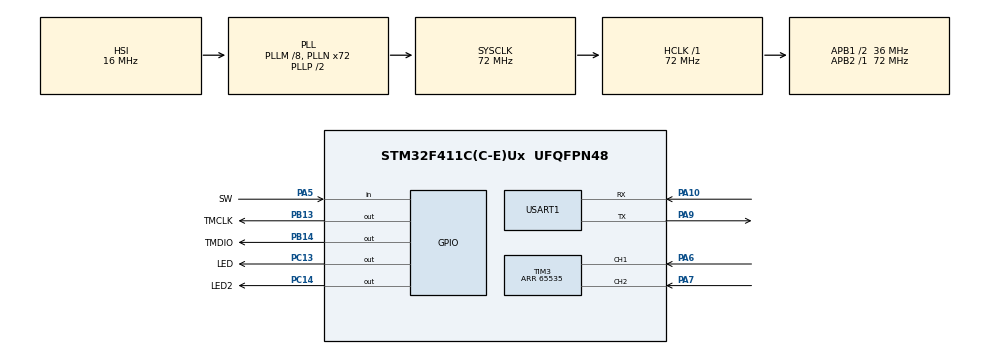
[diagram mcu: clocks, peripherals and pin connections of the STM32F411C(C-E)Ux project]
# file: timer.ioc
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Mcu.Family=STM32F4
Mcu.Name=STM32F411C(C-E)Ux
Mcu.Package=UFQFPN48
NVIC.PriorityGroup=NVIC_PRIORITYGROUP_4
NVIC.TIM2_IRQn=true\:0\:0\:false\:false\:true\:true\:true\:true
PA10.Mode=Asynchronous
PA10.Signal=USART1_RX
PA5.GPIO_Label=SW
PA5.Signal=GPIO_Input
PA6.Signal=S_TIM3_CH1
PA7.Signal=S_TIM3_CH2
PA9.Mode=Asynchronous
PA9.Signal=USART1_TX
PB13.GPIO_Label=TMCLK
PB13.Signal=GPIO_Output
PB14.GPIO_Label=TMDIO
PB14.Signal=GPIO_Output
PC13-ANTI_TAMP.GPIO_Label=LED
PC13-ANTI_TAMP.Signal=GPIO_Output
PC14-OSC32_IN.GPIO_Label=LED2
PC14-OSC32_IN.Signal=GPIO_Output
ProjectManager.HeapSize=0x200
ProjectManager.StackSize=0x400
ProjectManager.TargetToolchain=Makefile
RCC.48MHZClocksFreq_Value=36000000
RCC.AHBFreq_Value=72000000
RCC.APB1CLKDivider=RCC_HCLK_DIV2
RCC.APB1Freq_Value=36000000
RCC.APB1TimFreq_Value=72000000
RCC.APB2Freq_Value=72000000
RCC.APB2TimFreq_Value=72000000
RCC.CortexFreq_Value=72000000
RCC.HCLKFreq_Value=72000000
RCC.HSE_VALUE=25000000
RCC.HSI_VALUE=16000000
RCC.LSE_VALUE=32768
RCC.PLLM=8
RCC.PLLN=72
RCC.SYSCLKFreq_VALUE=72000000
RCC.SYSCLKSource=RCC_SYSCLKSOURCE_PLLCLK
RCC.VCOOutputFreq_Value=144000000
SH.S_TIM3_CH1.0=TIM3_CH1,Encoder_Interface
SH.S_TIM3_CH2.0=TIM3_CH2,Encoder_Interface
TIM2.Period=7200
TIM2.Prescaler=10000
TIM2.TIM_MasterOutputTrigger=TIM_TRGO_RESET
TIM3.EncoderMode=TIM_ENCODERMODE_TI1
TIM3.IC1Filter=10
TIM3.IC2Filter=10
TIM3.Period=65535
TIM3.TIM_MasterOutputTrigger=TIM_TRGO_RESET
TIM3.TIM_MasterSlaveMode=TIM_MASTERSLAVEMODE_DISABLE
USART1.VirtualMode=VM_ASYNC
VP_TIM2_VS_ClockSourceINT.Mode=Internal
board=custom

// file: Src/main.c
/* USER CODE BEGIN Header */
/**
  ******************************************************************************
  * @file           : main.c
  * @brief          : Main program body
  ******************************************************************************
  * @attention
  *
  * Copyright (c) 2025 STMicroelectronics.
  * All rights reserved.
  *
  * This software is licensed under terms that can be found in the LICENSE file
  * in the root directory of this software component.
  * If no LICENSE file comes with this software, it is provided AS-IS.
  *
  ******************************************************************************
  */
/* USER CODE END Header */
#include "main.h"
#include "tim.h"
#include "usart.h"
#include "gpio.h"

/* USER CODE BEGIN Includes */
#include "tm1637.h"
#include "stdio.h"
/* USER CODE END Includes */

/* USER CODE BEGIN PV */
uint8_t uCurrentDisplay[4] = {0};
uint8_t utm1637_Segments[8] = {0};
countDown_t cdCountDown;
uint8_t uTxBuffer[TX_BUFFER];
/* USER CODE END PV */

void SystemClock_Config(void);

int main(void)
{

  /* USER CODE BEGIN 1 */
  utm1637_Segments[0] = A_SEG;
  utm1637_Segments[1] = B_SEG;
  utm1637_Segments[2] = C_SEG;
  utm1637_Segments[3] = D_SEG;
  utm1637_Segments[4] = E_SEG;
  utm1637_Segments[5] = F_SEG;
  utm1637_Segments[6] = G_SEG;
  utm1637_Segments[7] = DP_SEG;
  /* USER CODE END 1 */

  /* MCU Configuration--------------------------------------------------------*/

  /* Reset of all peripherals, Initializes the Flash interface and the Systick. */
  HAL_Init();

  /* Configure the system clock */
  SystemClock_Config();

  /* Initialize all configured peripherals */
  MX_GPIO_Init();
  MX_TIM2_Init();
  MX_TIM3_Init();
  MX_USART1_UART_Init();
  /* USER CODE BEGIN 2 */
  HAL_TIM_Base_Start_IT(&htim2);
  HAL_TIM_Encoder_Start(&htim3,TIM_CHANNEL_ALL);
  //countDown_Set(10);
  //tm1637_Display_Handle(3,uCurrentDisplay);
  /* USER CODE END 2 */

  /* Infinite loop */
  /* USER CODE BEGIN WHILE */
  while (1)
  {
    if(TIM3->CNT > 0 && TIM3->CNT < 3600){
    if(TIM3->CNT != cdCountDown.secLeftTotal && !cdCountDown.isOn){
        countDown_Set(TIM3->CNT);
        sprintf(uTxBuffer, "Encoder Ticks = %u\n\r", ((TIM3->CNT)));
        HAL_UART_Transmit(&huart1, uTxBuffer, sizeof(uTxBuffer), 100);
      }
    }
    if(!HAL_GPIO_ReadPin(SW_GPIO_Port,SW_Pin)){
      if(!cdCountDown.isOn){
        countDown_Start();
      } else {
        countDown_Pause();
      }
    }
    if(cdCountDown.isDone){
      cdCountDown.isDone = cdCountDown.isDone <50?cdCountDown.isDone+1:0;
      HAL_GPIO_TogglePin(LED2_GPIO_Port,LED2_Pin);
      HAL_Delay(100);
    }
   tm1637_Display_Handle(3,uCurrentDisplay);
    /* USER CODE END WHILE */

  }
}

void SystemClock_Config(void)
{
  RCC_OscInitTypeDef RCC_OscInitStruct = {0};
  RCC_ClkInitTypeDef RCC_ClkInitStruct = {0};

  /** Configure the main internal regulator output voltage
  */
  __HAL_RCC_PWR_CLK_ENABLE();
  __HAL_PWR_VOLTAGESCALING_CONFIG(PWR_REGULATOR_VOLTAGE_SCALE1);

  /** Initializes the RCC Oscillators according to the specified parameters
  * in the RCC_OscInitTypeDef structure.
  */
  RCC_OscInitStruct.OscillatorType = RCC_OSCILLATORTYPE_HSI;
  RCC_OscInitStruct.HSIState = RCC_HSI_ON;
  RCC_OscInitStruct.HSICalibrationValue = RCC_HSICALIBRATION_DEFAULT;
  RCC_OscInitStruct.PLL.PLLState = RCC_PLL_ON;
  RCC_OscInitStruct.PLL.PLLSource = RCC_PLLSOURCE_HSI;
  RCC_OscInitStruct.PLL.PLLM = 8;
  RCC_OscInitStruct.PLL.PLLN = 72;
  RCC_OscInitStruct.PLL.PLLP = RCC_PLLP_DIV2;
  RCC_OscInitStruct.PLL.PLLQ = 4;
  if (HAL_RCC_OscConfig(&RCC_OscInitStruct) != HAL_OK)
  {
    Error_Handler();
  }

  /** Initializes the CPU, AHB and APB buses clocks
  */
  RCC_ClkInitStruct.ClockType = RCC_CLOCKTYPE_HCLK|RCC_CLOCKTYPE_SYSCLK
                              |RCC_CLOCKTYPE_PCLK1|RCC_CLOCKTYPE_PCLK2;
  RCC_ClkInitStruct.SYSCLKSource = RCC_SYSCLKSOURCE_PLLCLK;
  RCC_ClkInitStruct.AHBCLKDivider = RCC_SYSCLK_DIV1;
  RCC_ClkInitStruct.APB1CLKDivider = RCC_HCLK_DIV2;
  RCC_ClkInitStruct.APB2CLKDivider = RCC_HCLK_DIV1;

  if (HAL_RCC_ClockConfig(&RCC_ClkInitStruct, FLASH_LATENCY_2) != HAL_OK)
  {
    Error_Handler();
  }
}

/* USER CODE BEGIN 4 */

void countDown_Set(uint32_t sec){
  cdCountDown.secLeftTotal = sec;
  cdCountDown.hrLeft = cdCountDown.secLeftTotal / 3600;
	cdCountDown.minLeft = (cdCountDown.secLeftTotal -(3600 * cdCountDown.hrLeft))/60;
	cdCountDown.secLeft = cdCountDown.secLeftTotal - (3600 * cdCountDown.hrLeft) - (60 * cdCountDown.minLeft);
  cdCountDown.startTime = sec;
  updateDisplayBuffer();
}

void countDown_Tick(uint32_t sec){
  cdCountDown.secLeftTotal -= sec;
  if (cdCountDown.secLeftTotal > 0) {
    cdCountDown.hrLeft = cdCountDown.secLeftTotal / 3600;
	  cdCountDown.minLeft = (cdCountDown.secLeftTotal -(3600 * cdCountDown.hrLeft))/60;
  	cdCountDown.secLeft = cdCountDown.secLeftTotal - (3600 * cdCountDown.hrLeft) - (60 * cdCountDown.minLeft);
    updateDisplayBuffer();
  } else {
    cdCountDown.isOn = 0;
    cdCountDown.isDone = 1;
  }
}

void updateDisplayBuffer(){
  uCurrentDisplay[0] = char2segments((cdCountDown.minLeft / 10) + '0');
  uCurrentDisplay[1] = char2segments((cdCountDown.minLeft % 10) + '0') + DP_SEG;
  uCurrentDisplay[2] = char2segments((cdCountDown.secLeft / 10) + '0');
  uCurrentDisplay[3] = char2segments((cdCountDown.secLeft % 10) + '0');
}
void countDown_Start(){
  cdCountDown.isDone = 0;
  cdCountDown.isOn = 1;
}

void countDown_Pause(){
  cdCountDown.isOn = 0;
}

void countDown_Reset(){
  cdCountDown.isOn = 0;
}

void HAL_TIM_PeriodElapsedCallback(TIM_HandleTypeDef *htim){
  if (htim == &htim2 && cdCountDown.isOn) {
    HAL_GPIO_TogglePin(LED_GPIO_Port,LED_Pin);
    countDown_Tick(1);
    //
  }

}

/* USER CODE END 4 */

void Error_Handler(void)
{
  __disable_irq();
  while (1)
  {
  }
}
